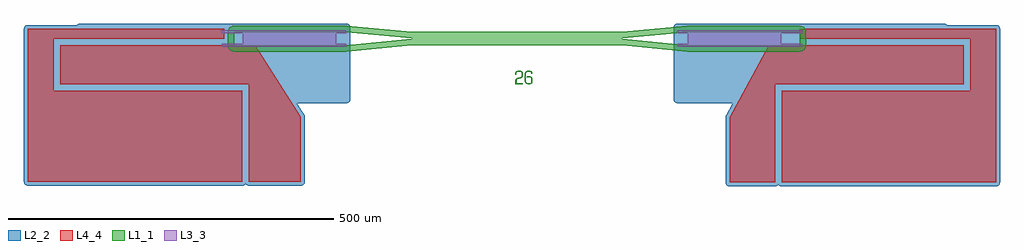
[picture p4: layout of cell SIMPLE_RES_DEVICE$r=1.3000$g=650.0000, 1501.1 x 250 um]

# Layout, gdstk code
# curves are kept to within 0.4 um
import gdstk
lib = gdstk.Library(unit=1e-6, precision=1e-10)
def P(c, l, *ps):  # polygons
    for p in ps: c.add(gdstk.Polygon(p, *l))
L1_1 = (1, 1)
L2_2 = (2, 2)
L3_3 = (3, 3)
L4_4 = (4, 4)

simple_res_device_r_1_30 = lib.new_cell('SIMPLE_RES_DEVICE$r=1.3000$g=650.0000')
P(simple_res_device_r_1_30, L1_1, [(-980.848,-15.25),(-983.7508,-14.8194),(-987.1919,-12.9801),(-989.1627,-10.8057),(-990.6559,-7.2009),(-990.6559,16.7009),(-987.9191,21.8211),(-982.7989,24.5579),(-808.048,24.75),(-707.579,15.35),(-545.9,15.35),(-545.9,5.35),(-708.048,5.35),(-808.048,14.75),(-980.848,14.75),(-980.848,-5.25),(-808.048,-5.25),(-708.048,4.15),(-545.9,4.15),(-545.9,-5.85),(-707.579,-5.85),(-808.048,-15.25)],
  [(-283.752,-15.25),(-384.221,-5.85),(-545.9,-5.85),(-545.9,4.15),(-383.752,4.15),(-283.752,-5.25),(-110.952,-5.25),(-110.952,14.75),(-283.752,14.75),(-383.752,5.35),(-545.9,5.35),(-545.9,15.35),(-384.221,15.35),(-283.752,24.75),(-110.952,24.75),(-107.1252,23.9888),(-104.6081,22.4801),(-101.3826,17.6528),(-100.952,-5.25),(-101.7132,-9.0768),(-103.8809,-12.3211),(-107.1252,-14.4888),(-110.952,-15.25)],
  [(-528.429,-65.578),(-530.777,-65.172),(-531.781,-64.724),(-532.729,-63.972),(-533.275,-63.122),(-533.553,-62.086),(-533.567,-48.736),(-533.093,-46.78),(-532.397,-45.988),(-531.363,-45.36),(-528.991,-44.846),(-526.889,-44.848),(-524.517,-45.362),(-522.935,-46.496),(-522.311,-48.086),(-522.311,-49.724),(-523.797,-49.724),(-523.797,-48.282),(-524.327,-47.306),(-525.331,-46.692),(-526.453,-46.344),(-527.481,-46.22),(-529.607,-46.456),(-530.737,-46.906),(-531.599,-47.546),(-532.081,-48.546),(-532.081,-61.724),(-531.749,-62.788),(-530.873,-63.52),(-528.517,-64.2),(-526.239,-64.074),(-525.101,-63.696),(-524.145,-63.08),(-523.553,-62.18),(-523.553,-57.108),(-523.885,-56.026),(-524.745,-55.288),(-527.031,-54.696),(-529.213,-54.772),(-530.327,-55.056),(-531.055,-55.544),(-531.055,-54.044),(-530.089,-53.644),(-527.687,-53.334),(-525.205,-53.558),(-524.019,-53.962),(-522.999,-54.626),(-522.303,-55.65),(-522.067,-56.688),(-522.067,-61.724),(-522.193,-62.82),(-522.731,-63.896),(-523.561,-64.648),(-525.671,-65.42)],
  [(-548.154,-65.22),(-548.154,-59.036),(-547.846,-57.866),(-547.008,-57.006),(-545.862,-56.394),(-540.242,-54.772),(-539.198,-54.242),(-538.408,-53.49),(-538.526,-47.892),(-539.166,-47.01),(-541.316,-46.282),(-544.93,-46.486),(-545.886,-46.91),(-546.636,-47.77),(-546.866,-48.87),(-546.866,-50.986),(-548.4,-50.986),(-548.328,-47.906),(-547.894,-46.732),(-547.112,-45.88),(-544.874,-44.98),(-541.096,-44.84),(-538.748,-45.446),(-537.87,-46.032),(-537.166,-46.948),(-536.788,-48.106),(-536.788,-52.914),(-536.97,-53.994),(-537.594,-54.912),(-538.478,-55.554),(-540.566,-56.402),(-544.274,-57.386),(-545.396,-57.89),(-546.274,-58.61),(-546.534,-59.386),(-546.534,-63.87),(-536.708,-63.87),(-536.708,-65.22)])
P(simple_res_device_r_1_30, L2_2, [(-218.952,-222.5),(-222.7584,-221.1381),(-224.2435,-219.3284),(-224.9231,-217.0881),(-224.952,-116.5),(-224.2302,-113.6469),(-213.8806,-94.5),(-298.952,-94.5),(-301.7804,-93.7915),(-303.9408,-91.8334),(-304.952,-88.5),(-304.952,21.5),(-304.2435,24.3284),(-301.7804,26.7915),(-298.952,27.5),(111.048,27.5),(113.3441,27.0433),(115.5106,25.5),(191.6361,25.4711),(194.3814,24.4888),(196.3395,22.3284),(197.048,19.5),(197.048,-216.5),(196.3395,-219.3284),(193.8764,-221.7915),(191.048,-222.5),(-138.952,-222.5),(-141.7804,-221.7915),(-143.952,-219.8148),(-146.1236,-221.7915),(-148.952,-222.5)],
  [(-1298.048,-221.5),(-1300.3441,-221.0433),(-1302.2906,-219.7426),(-1303.5913,-217.7961),(-1304.048,-215.5),(-1304.048,19.5),(-1303.3395,22.3284),(-1300.8764,24.7915),(-1298.048,25.5),(-1222.5106,25.5),(-1220.3441,27.0433),(-1218.048,27.5),(-808.048,27.5),(-805.2196,26.7915),(-802.7565,24.3284),(-802.048,21.5),(-802.048,-88.5),(-803.0592,-91.8334),(-805.2196,-93.7915),(-808.048,-94.5),(-884.2998,-94.5),(-872.986,-112.2787),(-872.0747,-114.9341),(-872.048,-215.5),(-872.7565,-218.3284),(-875.2196,-220.7915),(-878.048,-221.5),(-958.048,-221.5),(-960.8764,-220.7915),(-963.048,-218.8148),(-965.2196,-220.7915),(-968.048,-221.5)])
P(simple_res_device_r_1_30, L3_3, [(-298.952,-8),(-298.952,-3),(-283.197,-3),(-283.197,11.75),(-282.752,11.75),(-282.752,-3),(-282.752,-3),(-281.397,-3),(-281.397,11.75),(-280.952,11.75),(-280.952,-3),(-279.597,-3),(-279.597,11.75),(-279.152,11.75),(-279.152,-3),(-277.797,-3),(-277.797,11.75),(-277.352,11.75),(-277.352,-3),(-275.997,-3),(-275.997,11.75),(-275.552,11.75),(-275.552,-3),(-274.197,-3),(-274.197,11.75),(-273.752,11.75),(-273.752,-3),(-272.397,-3),(-272.397,11.75),(-271.952,11.75),(-271.952,-3),(-270.597,-3),(-270.597,11.75),(-270.152,11.75),(-270.152,-3),(-268.797,-3),(-268.797,11.75),(-268.352,11.75),(-268.352,-3),(-266.997,-3),(-266.997,11.75),(-266.552,11.75),(-266.552,-3),(-265.197,-3),(-265.197,11.75),(-264.752,11.75),(-264.752,-3),(-263.397,-3),(-263.397,11.75),(-262.952,11.75),(-262.952,-3),(-261.597,-3),(-261.597,11.75),(-261.152,11.75),(-261.152,-3),(-259.797,-3),(-259.797,11.75),(-259.352,11.75),(-259.352,-3),(-257.997,-3),(-257.997,11.75),(-257.552,11.75),(-257.552,-3),(-256.197,-3),(-256.197,11.75),(-255.752,11.75),(-255.752,-3),(-254.397,-3),(-254.397,11.75),(-253.952,11.75),(-253.952,-3),(-252.597,-3),(-252.597,11.75),(-252.152,11.75),(-252.152,-3),(-250.797,-3),(-250.797,11.75),(-250.352,11.75),(-250.352,-3),(-248.997,-3),(-248.997,11.75),(-248.552,11.75),(-248.552,-3),(-247.197,-3),(-247.197,11.75),(-246.752,11.75),(-246.752,-3),(-245.397,-3),(-245.397,11.75),(-244.952,11.75),(-244.952,-3),(-243.597,-3),(-243.597,11.75),(-243.152,11.75),(-243.152,-3),(-241.797,-3),(-241.797,11.75),(-241.352,11.75),(-241.352,-3),(-239.997,-3),(-239.997,11.75),(-239.552,11.75),(-239.552,-3),(-238.197,-3),(-238.197,11.75),(-237.752,11.75),(-237.752,-3),(-236.397,-3),(-236.397,11.75),(-235.952,11.75),(-235.952,-3),(-234.597,-3),(-234.597,11.75),(-234.152,11.75),(-234.152,-3),(-232.797,-3),(-232.797,11.75),(-232.352,11.75),(-232.352,-3),(-230.997,-3),(-230.997,11.75),(-230.552,11.75),(-230.552,-3),(-229.197,-3),(-229.197,11.75),(-228.752,11.75),(-228.752,-3),(-227.397,-3),(-227.397,11.75),(-226.952,11.75),(-226.952,-3),(-225.597,-3),(-225.597,11.75),(-225.152,11.75),(-225.152,-3),(-223.797,-3),(-223.797,11.75),(-223.352,11.75),(-223.352,-3),(-221.997,-3),(-221.997,11.75),(-221.552,11.75),(-221.552,-3),(-220.197,-3),(-220.197,11.75),(-219.752,11.75),(-219.752,-3),(-218.397,-3),(-218.397,11.75),(-217.952,11.75),(-217.952,-3),(-216.597,-3),(-216.597,11.75),(-216.152,11.75),(-216.152,-3),(-214.797,-3),(-214.797,11.75),(-214.352,11.75),(-214.352,-3),(-212.997,-3),(-212.997,11.75),(-212.552,11.75),(-212.552,-3),(-211.197,-3),(-211.197,11.75),(-210.752,11.75),(-210.752,-3),(-209.397,-3),(-209.397,11.75),(-208.952,11.75),(-208.952,-3),(-207.597,-3),(-207.597,11.75),(-207.152,11.75),(-207.152,-3),(-205.797,-3),(-205.797,11.75),(-205.352,11.75),(-205.352,-3),(-203.997,-3),(-203.997,11.75),(-203.552,11.75),(-203.552,-3),(-202.197,-3),(-202.197,11.75),(-201.752,11.75),(-201.752,-3),(-200.397,-3),(-200.397,11.75),(-199.952,11.75),(-199.952,-3),(-198.597,-3),(-198.597,11.75),(-198.152,11.75),(-198.152,-3),(-196.797,-3),(-196.797,11.75),(-196.352,11.75),(-196.352,-3),(-194.997,-3),(-194.997,11.75),(-194.552,11.75),(-194.552,-3),(-193.197,-3),(-193.197,11.75),(-192.752,11.75),(-192.752,-3),(-191.397,-3),(-191.397,11.75),(-190.952,11.75),(-190.952,-3),(-189.597,-3),(-189.597,11.75),(-189.152,11.75),(-189.152,-3),(-187.797,-3),(-187.797,11.75),(-187.352,11.75),(-187.352,-3),(-185.997,-3),(-185.997,11.75),(-185.552,11.75),(-185.552,-3),(-184.197,-3),(-184.197,11.75),(-183.752,11.75),(-183.752,-3),(-182.397,-3),(-182.397,11.75),(-181.952,11.75),(-181.952,-3),(-180.597,-3),(-180.597,11.75),(-180.152,11.75),(-180.152,-3),(-178.797,-3),(-178.797,11.75),(-178.352,11.75),(-178.352,-3),(-176.997,-3),(-176.997,11.75),(-176.552,11.75),(-176.552,-3),(-175.197,-3),(-175.197,11.75),(-174.752,11.75),(-174.752,-3),(-173.397,-3),(-173.397,11.75),(-172.952,11.75),(-172.952,-3),(-171.597,-3),(-171.597,11.75),(-171.152,11.75),(-171.152,-3),(-169.797,-3),(-169.797,11.75),(-169.352,11.75),(-169.352,-3),(-167.997,-3),(-167.997,11.75),(-167.552,11.75),(-167.552,-3),(-166.197,-3),(-166.197,11.75),(-165.752,11.75),(-165.752,-3),(-164.397,-3),(-164.397,11.75),(-163.952,11.75),(-163.952,-3),(-162.597,-3),(-162.597,11.75),(-162.152,11.75),(-162.152,-3),(-160.797,-3),(-160.797,11.75),(-160.352,11.75),(-160.352,-3),(-158.997,-3),(-158.997,11.75),(-158.552,11.75),(-158.552,-3),(-157.197,-3),(-157.197,11.75),(-156.752,11.75),(-156.752,-3),(-155.397,-3),(-155.397,11.75),(-154.952,11.75),(-154.952,-3),(-153.597,-3),(-153.597,11.75),(-153.152,11.75),(-153.152,-3),(-151.797,-3),(-151.797,11.75),(-151.352,11.75),(-151.352,-3),(-149.997,-3),(-149.997,11.75),(-149.552,11.75),(-149.552,-3),(-148.197,-3),(-148.197,11.75),(-147.752,11.75),(-147.752,-3),(-146.397,-3),(-146.397,11.75),(-145.952,11.75),(-145.952,-3),(-144.597,-3),(-144.597,11.75),(-144.152,11.75),(-144.152,-3),(-142.797,-3),(-142.797,11.75),(-142.352,11.75),(-142.352,-3),(-140.997,-3),(-140.997,11.75),(-140.552,11.75),(-140.552,-3),(-106.952,-3),(-106.952,-8)],
  [(-282.297,-2.25),(-282.297,12.5),(-298.952,12.5),(-298.952,17.5),(-106.952,17.5),(-106.952,12.5),(-139.652,12.5),(-139.652,-2.25),(-140.097,-2.25),(-140.097,12.5),(-141.452,12.5),(-141.452,-2.25),(-141.897,-2.25),(-141.897,12.5),(-143.252,12.5),(-143.252,-2.25),(-143.697,-2.25),(-143.697,12.5),(-145.052,12.5),(-145.052,-2.25),(-145.497,-2.25),(-145.497,12.5),(-146.852,12.5),(-146.852,-2.25),(-147.297,-2.25),(-147.297,12.5),(-148.652,12.5),(-148.652,-2.25),(-149.097,-2.25),(-149.097,12.5),(-150.452,12.5),(-150.452,-2.25),(-150.897,-2.25),(-150.897,12.5),(-152.252,12.5),(-152.252,-2.25),(-152.697,-2.25),(-152.697,12.5),(-154.052,12.5),(-154.052,-2.25),(-154.497,-2.25),(-154.497,12.5),(-155.852,12.5),(-155.852,-2.25),(-156.297,-2.25),(-156.297,12.5),(-157.652,12.5),(-157.652,-2.25),(-158.097,-2.25),(-158.097,12.5),(-159.452,12.5),(-159.452,-2.25),(-159.897,-2.25),(-159.897,12.5),(-161.252,12.5),(-161.252,-2.25),(-161.697,-2.25),(-161.697,12.5),(-163.052,12.5),(-163.052,-2.25),(-163.497,-2.25),(-163.497,12.5),(-164.852,12.5),(-164.852,-2.25),(-165.297,-2.25),(-165.297,12.5),(-166.652,12.5),(-166.652,-2.25),(-167.097,-2.25),(-167.097,12.5),(-168.452,12.5),(-168.452,-2.25),(-168.897,-2.25),(-168.897,12.5),(-170.252,12.5),(-170.252,-2.25),(-170.697,-2.25),(-170.697,12.5),(-172.052,12.5),(-172.052,-2.25),(-172.497,-2.25),(-172.497,12.5),(-173.852,12.5),(-173.852,-2.25),(-174.297,-2.25),(-174.297,12.5),(-175.652,12.5),(-175.652,-2.25),(-176.097,-2.25),(-176.097,12.5),(-177.452,12.5),(-177.452,-2.25),(-177.897,-2.25),(-177.897,12.5),(-179.252,12.5),(-179.252,-2.25),(-179.697,-2.25),(-179.697,12.5),(-181.052,12.5),(-181.052,-2.25),(-181.497,-2.25),(-181.497,12.5),(-182.852,12.5),(-182.852,-2.25),(-183.297,-2.25),(-183.297,12.5),(-184.652,12.5),(-184.652,-2.25),(-185.097,-2.25),(-185.097,12.5),(-186.452,12.5),(-186.452,-2.25),(-186.897,-2.25),(-186.897,12.5),(-188.252,12.5),(-188.252,-2.25),(-188.697,-2.25),(-188.697,12.5),(-190.052,12.5),(-190.052,-2.25),(-190.497,-2.25),(-190.497,12.5),(-191.852,12.5),(-191.852,-2.25),(-192.297,-2.25),(-192.297,12.5),(-193.652,12.5),(-193.652,-2.25),(-194.097,-2.25),(-194.097,12.5),(-195.452,12.5),(-195.452,-2.25),(-195.897,-2.25),(-195.897,12.5),(-197.252,12.5),(-197.252,-2.25),(-197.697,-2.25),(-197.697,12.5),(-199.052,12.5),(-199.052,-2.25),(-199.497,-2.25),(-199.497,12.5),(-200.852,12.5),(-200.852,-2.25),(-201.297,-2.25),(-201.297,12.5),(-202.652,12.5),(-202.652,-2.25),(-203.097,-2.25),(-203.097,12.5),(-204.452,12.5),(-204.452,-2.25),(-204.897,-2.25),(-204.897,12.5),(-206.252,12.5),(-206.252,-2.25),(-206.697,-2.25),(-206.697,12.5),(-208.052,12.5),(-208.052,-2.25),(-208.497,-2.25),(-208.497,12.5),(-209.852,12.5),(-209.852,-2.25),(-210.297,-2.25),(-210.297,12.5),(-211.652,12.5),(-211.652,-2.25),(-212.097,-2.25),(-212.097,12.5),(-213.452,12.5),(-213.452,-2.25),(-213.897,-2.25),(-213.897,12.5),(-215.252,12.5),(-215.252,-2.25),(-215.697,-2.25),(-215.697,12.5),(-217.052,12.5),(-217.052,-2.25),(-217.497,-2.25),(-217.497,12.5),(-218.852,12.5),(-218.852,-2.25),(-219.297,-2.25),(-219.297,12.5),(-220.652,12.5),(-220.652,-2.25),(-221.097,-2.25),(-221.097,12.5),(-222.452,12.5),(-222.452,-2.25),(-222.897,-2.25),(-222.897,12.5),(-224.252,12.5),(-224.252,-2.25),(-224.697,-2.25),(-224.697,12.5),(-226.052,12.5),(-226.052,-2.25),(-226.497,-2.25),(-226.497,12.5),(-227.852,12.5),(-227.852,-2.25),(-228.297,-2.25),(-228.297,12.5),(-229.652,12.5),(-229.652,-2.25),(-230.097,-2.25),(-230.097,12.5),(-231.452,12.5),(-231.452,-2.25),(-231.897,-2.25),(-231.897,12.5),(-233.252,12.5),(-233.252,-2.25),(-233.697,-2.25),(-233.697,12.5),(-235.052,12.5),(-235.052,-2.25),(-235.497,-2.25),(-235.497,12.5),(-236.852,12.5),(-236.852,-2.25),(-237.297,-2.25),(-237.297,12.5),(-238.652,12.5),(-238.652,-2.25),(-239.097,-2.25),(-239.097,12.5),(-240.452,12.5),(-240.452,-2.25),(-240.897,-2.25),(-240.897,12.5),(-242.252,12.5),(-242.252,-2.25),(-242.697,-2.25),(-242.697,12.5),(-244.052,12.5),(-244.052,-2.25),(-244.497,-2.25),(-244.497,12.5),(-245.852,12.5),(-245.852,-2.25),(-246.297,-2.25),(-246.297,12.5),(-247.652,12.5),(-247.652,-2.25),(-248.097,-2.25),(-248.097,12.5),(-249.452,12.5),(-249.452,-2.25),(-249.897,-2.25),(-249.897,12.5),(-251.252,12.5),(-251.252,-2.25),(-251.697,-2.25),(-251.697,12.5),(-253.052,12.5),(-253.052,-2.25),(-253.497,-2.25),(-253.497,12.5),(-254.852,12.5),(-254.852,-2.25),(-255.297,-2.25),(-255.297,12.5),(-256.652,12.5),(-256.652,-2.25),(-257.097,-2.25),(-257.097,12.5),(-258.452,12.5),(-258.452,-2.25),(-258.897,-2.25),(-258.897,12.5),(-260.252,12.5),(-260.252,-2.25),(-260.697,-2.25),(-260.697,12.5),(-262.052,12.5),(-262.052,-2.25),(-262.497,-2.25),(-262.497,12.5),(-263.852,12.5),(-263.852,-2.25),(-264.297,-2.25),(-264.297,12.5),(-265.652,12.5),(-265.652,-2.25),(-266.097,-2.25),(-266.097,12.5),(-267.452,12.5),(-267.452,-2.25),(-267.897,-2.25),(-267.897,-2.25),(-267.897,12.5),(-269.252,12.5),(-269.252,-2.25),(-269.697,-2.25),(-269.697,12.5),(-271.052,12.5),(-271.052,-2.25),(-271.497,-2.25),(-271.497,12.5),(-272.852,12.5),(-272.852,-2.25),(-273.297,-2.25),(-273.297,12.5),(-274.652,12.5),(-274.652,-2.25),(-275.097,-2.25),(-275.097,12.5),(-276.452,12.5),(-276.452,-2.25),(-276.897,-2.25),(-276.897,12.5),(-278.252,12.5),(-278.252,-2.25),(-278.697,-2.25),(-278.697,12.5),(-280.052,12.5),(-280.052,-2.25),(-280.497,-2.25),(-280.497,12.5),(-281.852,12.5),(-281.852,-2.25)],
  [(-1000.048,-8),(-1000.048,-3),(-966.448,-3),(-966.448,11.75),(-966.003,11.75),(-966.003,-3),(-964.648,-3),(-964.648,11.75),(-964.203,11.75),(-964.203,-3),(-962.848,-3),(-962.848,11.75),(-962.403,11.75),(-962.403,-3),(-961.048,-3),(-961.048,11.75),(-960.603,11.75),(-960.603,-3),(-959.248,-3),(-959.248,11.75),(-958.803,11.75),(-958.803,-3),(-957.448,-3),(-957.448,11.75),(-957.003,11.75),(-957.003,-3),(-955.648,-3),(-955.648,11.75),(-955.203,11.75),(-955.203,-3),(-953.848,-3),(-953.848,11.75),(-953.403,11.75),(-953.403,-3),(-952.048,-3),(-952.048,11.75),(-951.603,11.75),(-951.603,-3),(-950.248,-3),(-950.248,11.75),(-949.803,11.75),(-949.803,-3),(-948.448,-3),(-948.448,11.75),(-948.003,11.75),(-948.003,-3),(-946.648,-3),(-946.648,11.75),(-946.203,11.75),(-946.203,-3),(-944.848,-3),(-944.848,11.75),(-944.403,11.75),(-944.403,11.75),(-944.403,-3),(-943.048,-3),(-943.048,11.75),(-942.603,11.75),(-942.603,-3),(-941.248,-3),(-941.248,11.75),(-940.803,11.75),(-940.803,-3),(-939.448,-3),(-939.448,11.75),(-939.003,11.75),(-939.003,-3),(-937.648,-3),(-937.648,11.75),(-937.203,11.75),(-937.203,-3),(-935.848,-3),(-935.848,11.75),(-935.403,11.75),(-935.403,-3),(-934.048,-3),(-934.048,11.75),(-933.603,11.75),(-933.603,-3),(-932.248,-3),(-932.248,11.75),(-931.803,11.75),(-931.803,-3),(-930.448,-3),(-930.448,11.75),(-930.003,11.75),(-930.003,-3),(-928.648,-3),(-928.648,11.75),(-928.203,11.75),(-928.203,-3),(-926.848,-3),(-926.848,11.75),(-926.403,11.75),(-926.403,-3),(-925.048,-3),(-925.048,11.75),(-924.603,11.75),(-924.603,-3),(-923.248,-3),(-923.248,11.75),(-922.803,11.75),(-922.803,-3),(-921.448,-3),(-921.448,11.75),(-921.003,11.75),(-921.003,-3),(-919.648,-3),(-919.648,11.75),(-919.203,11.75),(-919.203,-3),(-917.848,-3),(-917.848,11.75),(-917.403,11.75),(-917.403,-3),(-916.048,-3),(-916.048,11.75),(-915.603,11.75),(-915.603,-3),(-914.248,-3),(-914.248,11.75),(-913.803,11.75),(-913.803,-3),(-912.448,-3),(-912.448,11.75),(-912.003,11.75),(-912.003,-3),(-910.648,-3),(-910.648,11.75),(-910.203,11.75),(-910.203,-3),(-908.848,-3),(-908.848,11.75),(-908.403,11.75),(-908.403,-3),(-907.048,-3),(-907.048,11.75),(-906.603,11.75),(-906.603,-3),(-905.248,-3),(-905.248,11.75),(-904.803,11.75),(-904.803,-3),(-903.448,-3),(-903.448,11.75),(-903.003,11.75),(-903.003,-3),(-901.648,-3),(-901.648,11.75),(-901.203,11.75),(-901.203,-3),(-899.848,-3),(-899.848,11.75),(-899.403,11.75),(-899.403,-3),(-898.048,-3),(-898.048,11.75),(-897.603,11.75),(-897.603,-3),(-896.248,-3),(-896.248,11.75),(-895.803,11.75),(-895.803,-3),(-894.448,-3),(-894.448,11.75),(-894.003,11.75),(-894.003,-3),(-892.648,-3),(-892.648,11.75),(-892.203,11.75),(-892.203,-3),(-890.848,-3),(-890.848,11.75),(-890.403,11.75),(-890.403,-3),(-889.048,-3),(-889.048,11.75),(-888.603,11.75),(-888.603,-3),(-887.248,-3),(-887.248,11.75),(-886.803,11.75),(-886.803,-3),(-885.448,-3),(-885.448,11.75),(-885.003,11.75),(-885.003,-3),(-883.648,-3),(-883.648,11.75),(-883.203,11.75),(-883.203,-3),(-881.848,-3),(-881.848,11.75),(-881.403,11.75),(-881.403,-3),(-880.048,-3),(-880.048,11.75),(-879.603,11.75),(-879.603,-3),(-878.248,-3),(-878.248,11.75),(-877.803,11.75),(-877.803,-3),(-876.448,-3),(-876.448,11.75),(-876.003,11.75),(-876.003,-3),(-874.648,-3),(-874.648,11.75),(-874.203,11.75),(-874.203,-3),(-872.848,-3),(-872.848,11.75),(-872.403,11.75),(-872.403,-3),(-871.048,-3),(-871.048,11.75),(-870.603,11.75),(-870.603,-3),(-869.248,-3),(-869.248,11.75),(-868.803,11.75),(-868.803,-3),(-867.448,-3),(-867.448,11.75),(-867.003,11.75),(-867.003,-3),(-865.648,-3),(-865.648,11.75),(-865.203,11.75),(-865.203,-3),(-863.848,-3),(-863.848,11.75),(-863.403,11.75),(-863.403,-3),(-862.048,-3),(-862.048,11.75),(-861.603,11.75),(-861.603,-3),(-860.248,-3),(-860.248,11.75),(-859.803,11.75),(-859.803,-3),(-858.448,-3),(-858.448,11.75),(-858.003,11.75),(-858.003,-3),(-856.648,-3),(-856.648,11.75),(-856.203,11.75),(-856.203,-3),(-854.848,-3),(-854.848,11.75),(-854.403,11.75),(-854.403,-3),(-853.048,-3),(-853.048,11.75),(-852.603,11.75),(-852.603,-3),(-851.248,-3),(-851.248,11.75),(-850.803,11.75),(-850.803,-3),(-849.448,-3),(-849.448,11.75),(-849.003,11.75),(-849.003,-3),(-847.648,-3),(-847.648,11.75),(-847.203,11.75),(-847.203,-3),(-845.848,-3),(-845.848,11.75),(-845.403,11.75),(-845.403,-3),(-844.048,-3),(-844.048,11.75),(-843.603,11.75),(-843.603,-3),(-842.248,-3),(-842.248,11.75),(-841.803,11.75),(-841.803,-3),(-840.448,-3),(-840.448,11.75),(-840.003,11.75),(-840.003,-3),(-838.648,-3),(-838.648,11.75),(-838.203,11.75),(-838.203,-3),(-836.848,-3),(-836.848,11.75),(-836.403,11.75),(-836.403,-3),(-835.048,-3),(-835.048,11.75),(-834.603,11.75),(-834.603,-3),(-833.248,-3),(-833.248,11.75),(-832.803,11.75),(-832.803,-3),(-831.448,-3),(-831.448,11.75),(-831.003,11.75),(-831.003,-3),(-829.648,-3),(-829.648,11.75),(-829.203,11.75),(-829.203,-3),(-827.848,-3),(-827.848,11.75),(-827.403,11.75),(-827.403,-3),(-826.048,-3),(-826.048,11.75),(-825.603,11.75),(-825.603,-3),(-824.248,-3),(-824.248,11.75),(-823.803,11.75),(-823.803,-3),(-808.048,-3),(-808.048,-8)],
  [(-967.348,-2.25),(-967.348,12.5),(-1000.048,12.5),(-1000.048,17.5),(-808.048,17.5),(-808.048,12.5),(-824.703,12.5),(-824.703,-2.25),(-825.148,-2.25),(-825.148,12.5),(-826.503,12.5),(-826.503,-2.25),(-826.948,-2.25),(-826.948,12.5),(-828.303,12.5),(-828.303,-2.25),(-828.748,-2.25),(-828.748,12.5),(-830.103,12.5),(-830.103,-2.25),(-830.548,-2.25),(-830.548,12.5),(-831.903,12.5),(-831.903,-2.25),(-832.348,-2.25),(-832.348,12.5),(-833.703,12.5),(-833.703,-2.25),(-834.148,-2.25),(-834.148,12.5),(-835.503,12.5),(-835.503,-2.25),(-835.948,-2.25),(-835.948,12.5),(-837.303,12.5),(-837.303,-2.25),(-837.748,-2.25),(-837.748,12.5),(-839.103,12.5),(-839.103,-2.25),(-839.548,-2.25),(-839.548,12.5),(-840.903,12.5),(-840.903,-2.25),(-841.348,-2.25),(-841.348,12.5),(-842.703,12.5),(-842.703,-2.25),(-843.148,-2.25),(-843.148,12.5),(-844.503,12.5),(-844.503,-2.25),(-844.948,-2.25),(-844.948,12.5),(-846.303,12.5),(-846.303,-2.25),(-846.748,-2.25),(-846.748,12.5),(-848.103,12.5),(-848.103,-2.25),(-848.548,-2.25),(-848.548,12.5),(-849.903,12.5),(-849.903,-2.25),(-850.348,-2.25),(-850.348,12.5),(-851.703,12.5),(-851.703,-2.25),(-852.148,-2.25),(-852.148,12.5),(-853.503,12.5),(-853.503,-2.25),(-853.948,-2.25),(-853.948,12.5),(-855.303,12.5),(-855.303,-2.25),(-855.748,-2.25),(-855.748,12.5),(-857.103,12.5),(-857.103,-2.25),(-857.548,-2.25),(-857.548,12.5),(-858.903,12.5),(-858.903,-2.25),(-859.348,-2.25),(-859.348,12.5),(-860.703,12.5),(-860.703,-2.25),(-861.148,-2.25),(-861.148,12.5),(-862.503,12.5),(-862.503,-2.25),(-862.948,-2.25),(-862.948,12.5),(-864.303,12.5),(-864.303,-2.25),(-864.748,-2.25),(-864.748,12.5),(-866.103,12.5),(-866.103,-2.25),(-866.548,-2.25),(-866.548,12.5),(-867.903,12.5),(-867.903,-2.25),(-868.348,-2.25),(-868.348,12.5),(-869.703,12.5),(-869.703,-2.25),(-870.148,-2.25),(-870.148,12.5),(-871.503,12.5),(-871.503,-2.25),(-871.948,-2.25),(-871.948,12.5),(-873.303,12.5),(-873.303,-2.25),(-873.748,-2.25),(-873.748,12.5),(-875.103,12.5),(-875.103,-2.25),(-875.548,-2.25),(-875.548,12.5),(-876.903,12.5),(-876.903,-2.25),(-877.348,-2.25),(-877.348,12.5),(-878.703,12.5),(-878.703,-2.25),(-879.148,-2.25),(-879.148,12.5),(-880.503,12.5),(-880.503,-2.25),(-880.948,-2.25),(-880.948,12.5),(-882.303,12.5),(-882.303,-2.25),(-882.748,-2.25),(-882.748,12.5),(-884.103,12.5),(-884.103,-2.25),(-884.548,-2.25),(-884.548,12.5),(-885.903,12.5),(-885.903,-2.25),(-886.348,-2.25),(-886.348,12.5),(-887.703,12.5),(-887.703,-2.25),(-888.148,-2.25),(-888.148,12.5),(-889.503,12.5),(-889.503,-2.25),(-889.948,-2.25),(-889.948,12.5),(-891.303,12.5),(-891.303,-2.25),(-891.748,-2.25),(-891.748,12.5),(-893.103,12.5),(-893.103,-2.25),(-893.548,-2.25),(-893.548,12.5),(-894.903,12.5),(-894.903,-2.25),(-895.348,-2.25),(-895.348,12.5),(-896.703,12.5),(-896.703,-2.25),(-897.148,-2.25),(-897.148,12.5),(-898.503,12.5),(-898.503,-2.25),(-898.948,-2.25),(-898.948,12.5),(-900.303,12.5),(-900.303,-2.25),(-900.748,-2.25),(-900.748,12.5),(-902.103,12.5),(-902.103,-2.25),(-902.548,-2.25),(-902.548,12.5),(-903.903,12.5),(-903.903,-2.25),(-904.348,-2.25),(-904.348,12.5),(-905.703,12.5),(-905.703,-2.25),(-906.148,-2.25),(-906.148,12.5),(-907.503,12.5),(-907.503,-2.25),(-907.948,-2.25),(-907.948,12.5),(-909.303,12.5),(-909.303,-2.25),(-909.748,-2.25),(-909.748,12.5),(-911.103,12.5),(-911.103,-2.25),(-911.548,-2.25),(-911.548,12.5),(-912.903,12.5),(-912.903,-2.25),(-913.348,-2.25),(-913.348,12.5),(-914.703,12.5),(-914.703,-2.25),(-915.148,-2.25),(-915.148,12.5),(-916.503,12.5),(-916.503,-2.25),(-916.948,-2.25),(-916.948,12.5),(-918.303,12.5),(-918.303,-2.25),(-918.748,-2.25),(-918.748,12.5),(-920.103,12.5),(-920.103,-2.25),(-920.548,-2.25),(-920.548,12.5),(-921.903,12.5),(-921.903,-2.25),(-922.348,-2.25),(-922.348,12.5),(-923.703,12.5),(-923.703,-2.25),(-924.148,-2.25),(-924.148,12.5),(-925.503,12.5),(-925.503,-2.25),(-925.948,-2.25),(-925.948,12.5),(-927.303,12.5),(-927.303,-2.25),(-927.748,-2.25),(-927.748,12.5),(-929.103,12.5),(-929.103,-2.25),(-929.548,-2.25),(-929.548,12.5),(-930.903,12.5),(-930.903,-2.25),(-931.348,-2.25),(-931.348,12.5),(-932.703,12.5),(-932.703,-2.25),(-933.148,-2.25),(-933.148,12.5),(-934.503,12.5),(-934.503,-2.25),(-934.948,-2.25),(-934.948,12.5),(-936.303,12.5),(-936.303,-2.25),(-936.748,-2.25),(-936.748,12.5),(-938.103,12.5),(-938.103,-2.25),(-938.548,-2.25),(-938.548,12.5),(-938.548,12.5),(-939.903,12.5),(-939.903,-2.25),(-940.348,-2.25),(-940.348,12.5),(-941.703,12.5),(-941.703,-2.25),(-942.148,-2.25),(-942.148,12.5),(-943.503,12.5),(-943.503,-2.25),(-943.948,-2.25),(-943.948,12.5),(-945.303,12.5),(-945.303,-2.25),(-945.748,-2.25),(-945.748,12.5),(-947.103,12.5),(-947.103,-2.25),(-947.548,-2.25),(-947.548,12.5),(-948.903,12.5),(-948.903,-2.25),(-949.348,-2.25),(-949.348,12.5),(-950.703,12.5),(-950.703,-2.25),(-951.148,-2.25),(-951.148,12.5),(-952.503,12.5),(-952.503,-2.25),(-952.948,-2.25),(-952.948,12.5),(-954.303,12.5),(-954.303,-2.25),(-954.748,-2.25),(-954.748,12.5),(-956.103,12.5),(-956.103,-2.25),(-956.548,-2.25),(-956.548,12.5),(-957.903,12.5),(-957.903,-2.25),(-958.348,-2.25),(-958.348,12.5),(-959.703,12.5),(-959.703,-2.25),(-960.148,-2.25),(-960.148,12.5),(-961.503,12.5),(-961.503,-2.25),(-961.948,-2.25),(-961.948,12.5),(-963.303,12.5),(-963.303,-2.25),(-963.748,-2.25),(-963.748,12.5),(-965.103,12.5),(-965.103,-2.25),(-965.548,-2.25),(-965.548,12.5),(-966.903,12.5),(-966.903,-2.25)])
P(simple_res_device_r_1_30, L4_4, [(-218.952,-216.5),(-218.952,-116.5),(-158.952,-5.5),(141.048,-5.5),(141.048,-5.5),(141.048,-65.5),(-148.952,-65.5),(-148.952,-216.5)],
  [(-138.952,-216.5),(-138.952,-75.5),(151.048,-75.5),(151.048,4.5),(-110.952,4.5),(-110.952,19.5),(191.048,19.5),(191.048,19.5),(191.048,-216.5)],
  [(-958.048,-215.5),(-958.048,-65.5),(-1248.048,-65.5),(-1248.048,-5.5),(-948.048,-5.5),(-878.048,-115.5),(-878.048,-115.5),(-878.048,-215.5)],
  [(-1298.048,-215.5),(-1298.048,19.5),(-996.048,19.5),(-996.048,4.5),(-996.048,4.5),(-1258.048,4.5),(-1258.048,-75.5),(-968.048,-75.5),(-968.048,-215.5)])

lib.write_gds('SIMPLE_RES_DEVICE_r_1.3000_g_650.0000.gds')
